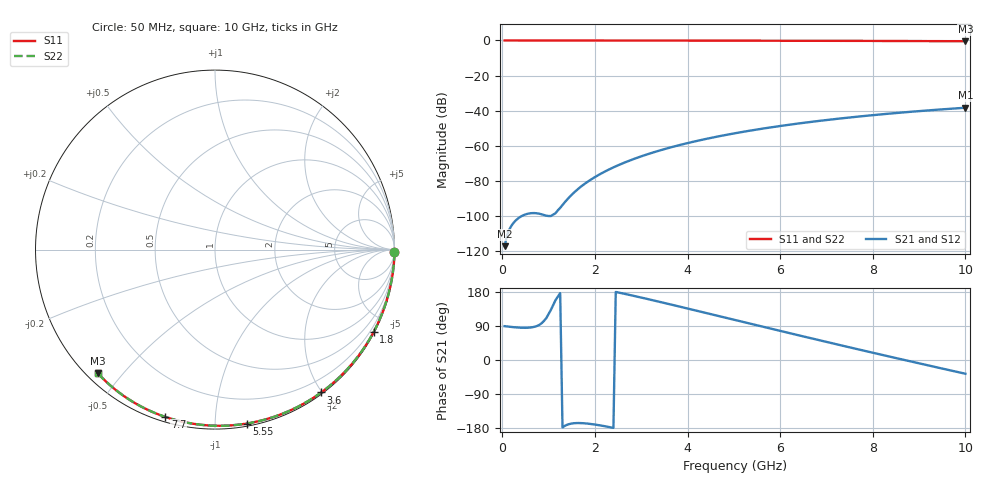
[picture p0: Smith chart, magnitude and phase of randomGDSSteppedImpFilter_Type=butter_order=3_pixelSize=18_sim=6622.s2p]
! freq	dB(S11)	phase(S11)	dB(S12)	phase(S12)
!  dB(S21)	phase(S21)	dB(S22)	phase(S22)
!S-par simulation data
#  GHz  S  DB  R 50
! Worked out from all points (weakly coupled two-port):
!   200 points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, 50 MHz to 10 GHz, reference 50 ohm
!   highest |S21| = -38.35 dB at 10 GHz (marker M1); lowest = -117.3 dB at 50 MHz (marker M2)
!   lowest |S11| = -0.5 dB at 10 GHz (marker M3), VSWR 38.50, Z = 1.54 - j21.5 ohm
!   |S11| at or under -10 dB: nowhere
!   |S22| runs from -0.5 to 0.0 dB; largest |S21 - S12| = 0
!   S11 on the Smith chart (normalised r, x): 50 MHz: open; 1.8 GHz: 0.04, -4.12; 3.6 GHz: 0.02, -1.99; 5.55 GHz: 0.02, -1.20; 7.7 GHz: 0.02, -0.75; 10 GHz: 0.03, -0.43
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0.05  -0.00 -0.8  -117.28 89.3  -117.28 89.3  -0.00 -0.8
0.9  -0.02 -13.8  -99.54 103.2  -99.54 103.2  -0.02 -13.8
1.75  -0.03 -26.6  -82.29 -166.8  -82.29 -166.8  -0.03 -26.6
1.8  -0.03 -27.3  -81.32 -167.3  -81.32 -167.3  -0.03 -27.3
1.85  -0.04 -28.0  -80.41 -167.9  -80.41 -167.9  -0.04 -28.0
1.9  -0.04 -28.8  -79.54 -168.6  -79.54 -168.6  -0.04 -28.8
2.05  -0.04 -31.0  -77.11 -171.3  -77.11 -171.3  -0.04 -31.0
2.25  -0.04 -34.0  -74.26 -175.6  -74.26 -175.6  -0.04 -34.0
2.45  -0.05 -36.9  -71.74 179.6  -71.74 179.6  -0.05 -36.9
2.65  -0.05 -39.8  -69.50 174.4  -69.50 174.4  -0.05 -39.8
3  -0.06 -44.9  -66.06 164.8  -66.06 164.8  -0.06 -44.9
3.4  -0.07 -50.6  -62.71 153.4  -62.71 153.4  -0.07 -50.6
3.6  -0.07 -53.4  -61.21 147.6  -61.21 147.6  -0.07 -53.4
4.3  -0.09 -63.1  -56.70 127.0  -56.70 127.0  -0.09 -63.1
5.05  -0.11 -73.2  -52.78 104.8  -52.78 104.8  -0.11 -73.2
5.55  -0.13 -79.7  -50.56 90.1  -50.56 90.1  -0.13 -79.7
6.1  -0.15 -86.8  -48.39 73.9  -48.39 73.9  -0.15 -86.8
6.7  -0.18 -94.3  -46.31 56.4  -46.31 56.4  -0.18 -94.3
7.7  -0.24 -106.5  -43.36 27.7  -43.36 27.7  -0.24 -106.5
8.35  -0.29 -114.3  -41.73 9.3  -41.73 9.3  -0.29 -114.3
9.15  -0.36 -123.6  -39.96 -13.0  -39.96 -13.0  -0.36 -123.6
10  -0.45 -133.5  -38.35 -36.3  -38.35 -36.3  -0.45 -133.5
